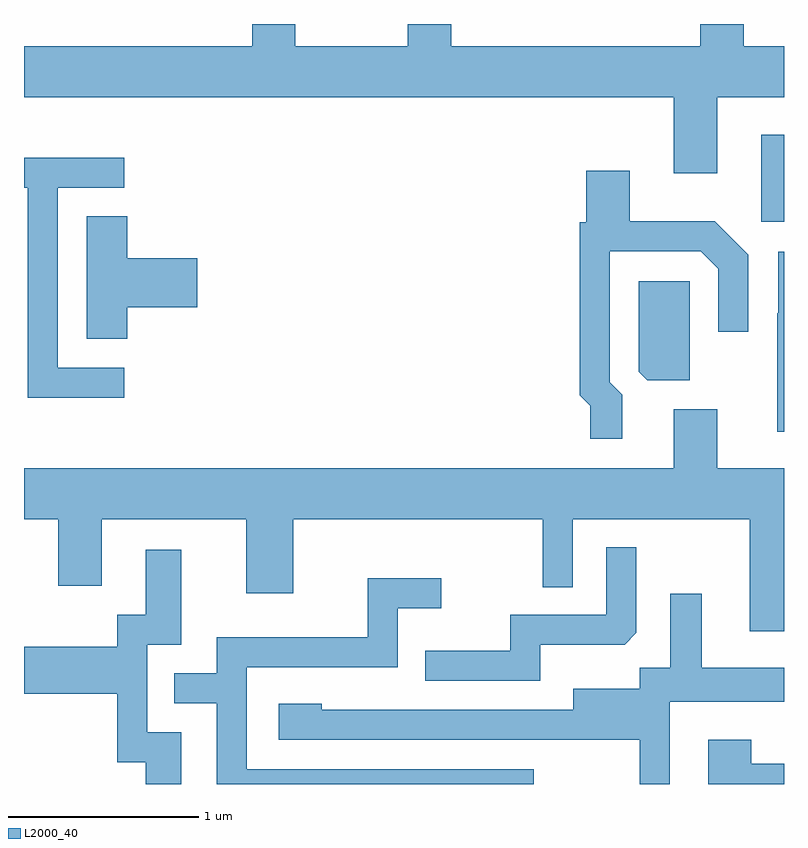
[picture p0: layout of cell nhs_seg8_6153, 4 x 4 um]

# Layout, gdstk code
import gdstk
lib = gdstk.Library(unit=1e-6, precision=1e-09)
def R(c, l, rs):  # rectangles x0, y0, x1, y1
    for r in rs: c.add(gdstk.rectangle(r[:2], r[2:], *l))
def P(c, l, *ps):  # polygons
    for p in ps: c.add(gdstk.Polygon(p, *l))
L2000_40 = (2000, 40)

nhs_seg8_6153 = lib.new_cell('nhs_seg8_6153')
R(nhs_seg8_6153, L2000_40, [(373.491,1851.301,373.611,1851.759)])
P(nhs_seg8_6153, L2000_40, [(373.259,1851.956),(373.611,1851.956),(373.611,1852.224),(373.399,1852.224),(373.399,1852.342),(373.171,1852.342),(373.171,1852.224),(371.859,1852.224),(371.859,1852.342),(371.631,1852.342),(371.631,1852.224),(371.039,1852.224),(371.039,1852.342),(370.811,1852.342),(370.811,1852.224),(369.611,1852.224),(369.611,1851.956),(373.031,1851.956),(373.031,1851.556),(373.259,1851.556)],
  [(370.138,1850.534),(369.789,1850.534),(369.789,1851.481),(370.138,1851.481),(370.138,1851.639),(369.611,1851.639),(369.611,1851.481),(369.631,1851.481),(369.631,1850.376),(370.138,1850.376)],
  [(372.759,1850.392),(372.694,1850.457),(372.694,1851.146),(373.174,1851.146),(373.266,1851.054),(373.266,1850.723),(373.424,1850.723),(373.424,1851.127),(373.247,1851.304),(372.799,1851.304),(372.799,1851.569),(372.571,1851.569),(372.571,1851.299),(372.536,1851.299),(372.536,1850.389),(372.591,1850.334),(372.591,1850.158),(372.759,1850.158)],
  [(370.154,1850.851),(370.524,1850.851),(370.524,1851.109),(370.154,1851.109),(370.154,1851.329),(369.941,1851.329),(369.941,1850.686),(370.154,1850.686)],
  [(373.611,1851.144),(373.581,1851.144),(373.581,1850.82),(373.576,1850.82),(373.576,1850.196),(373.611,1850.196)],
  [(373.114,1850.989),(372.846,1850.989),(372.846,1850.512),(372.892,1850.466),(373.114,1850.466)],
  [(373.611,1850.004),(373.259,1850.004),(373.259,1850.314),(373.031,1850.314),(373.031,1850.004),(369.611,1850.004),(369.611,1849.736),(369.791,1849.736),(369.791,1849.386),(370.019,1849.386),(370.019,1849.736),(370.781,1849.736),(370.781,1849.346),(371.029,1849.346),(371.029,1849.736),(372.341,1849.736),(372.341,1849.378),(372.499,1849.378),(372.499,1849.736),(373.431,1849.736),(373.431,1849.146),(373.611,1849.146)],
  [(372.329,1849.076),(372.774,1849.076),(372.834,1849.137),(372.834,1849.588),(372.676,1849.588),(372.676,1849.234),(372.171,1849.234),(372.171,1849.044),(371.723,1849.044),(371.723,1848.886),(372.329,1848.886)],
  [(370.439,1848.614),(370.259,1848.614),(370.259,1849.076),(370.439,1849.076),(370.439,1849.574),(370.251,1849.574),(370.251,1849.234),(370.101,1849.234),(370.101,1849.064),(369.611,1849.064),(369.611,1848.816),(370.101,1848.816),(370.101,1848.456),(370.251,1848.456),(370.251,1848.342),(370.439,1848.342)],
  [(372.294,1848.419),(370.784,1848.419),(370.784,1848.956),(371.579,1848.956),(371.579,1849.266),(371.808,1849.266),(371.808,1849.424),(371.421,1849.424),(371.421,1849.114),(370.626,1849.114),(370.626,1848.924),(370.403,1848.924),(370.403,1848.766),(370.626,1848.766),(370.626,1848.342),(372.294,1848.342)],
  [(373.009,1848.776),(373.611,1848.776),(373.611,1848.954),(373.179,1848.954),(373.179,1849.343),(373.011,1849.343),(373.011,1848.954),(372.851,1848.954),(372.851,1848.844),(372.501,1848.844),(372.501,1848.734),(371.179,1848.734),(371.179,1848.764),(370.951,1848.764),(370.951,1848.576),(372.851,1848.576),(372.851,1848.342),(373.009,1848.342)],
  [(373.611,1848.449),(373.439,1848.449),(373.439,1848.574),(373.211,1848.574),(373.211,1848.342),(373.611,1848.342)])

lib.write_gds('nhs_seg8_6153.gds')
